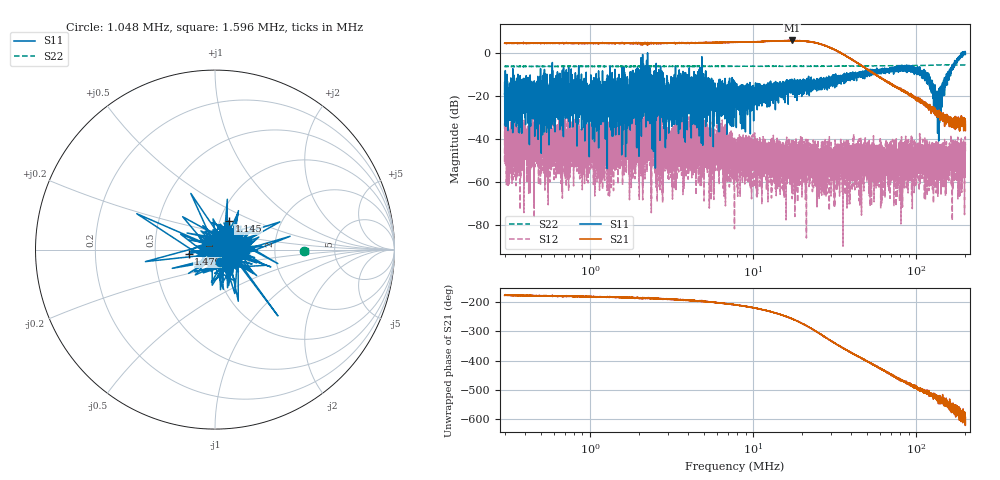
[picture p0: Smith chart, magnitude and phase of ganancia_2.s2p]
# Hz S DB R 50
! CMT, M5065, 19127446, 24.2.4/2
! Date: 11/1/2024 3:04:12 PM
! Data: Format (Calibration Info)
! Freq	S11:dB/Ang(F2)	S21:dB/Ang(F2)	S12:dB/Ang(F2)	S22:dB/Ang(F2)
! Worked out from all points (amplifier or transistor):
!   9000 points, 300 kHz to 200 MHz, reference 50 ohm
!   highest |S21| = 6.0 dB at 17.29 MHz (marker M1)
!   |S21| within 3 dB of that: start of sweep to 28.9 MHz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
!   unconditionally stable (mu >= 1): start of sweep to 2.254 MHz; 2.257 MHz to 187.2 MHz; 187.4 MHz to 191.4 MHz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
!   at 886.8 kHz: K = 32.98, MAG = 6.0 dB, |S12| = -43.7 dB
!   at 7.749 MHz: K = 153.02, MAG = 6.5 dB, |S12| = -57.5 dB
!   at 200 MHz: K = -152.44, MSG = 5.3 dB, |S12| = -42.2 dB
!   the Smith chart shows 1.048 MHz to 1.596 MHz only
!   S11 on the Smith chart (normalised r, x): 1.048 MHz: 1.05, -0.15; 1.145 MHz: 1.11, +0.36; 1.479 MHz: 0.74, -0.04; 1.596 MHz: 1.43, +0.16
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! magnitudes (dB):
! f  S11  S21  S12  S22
! 300 kHz  -18.9  4.8  -32.5  -6.0
! 310.1 kHz  -32.2  4.8  -35.0  -6.1
! 322.5 kHz  -24.0  4.8  -36.0  -6.1
! 886.8 kHz  -20.3  4.7  -43.7  -6.0
! 1.048 MHz  -22.2  4.7  -50.9  -6.0
! 1.145 MHz  -15.0  4.7  -63.6  -6.0
! 1.479 MHz  -16.5  4.9  -41.8  -6.1
! 1.596 MHz  -14.4  4.7  -35.9  -6.0
! 2.282 MHz  -15.7  4.8  -39.5  -6.0
! 2.621 MHz  -12.5  4.9  -50.7  -6.0
! 4.629 MHz  -25.7  4.9  -49.9  -6.0
! 7.749 MHz  -21.3  5.2  -57.5  -6.0
! 12.88 MHz  -16.6  5.7  -53.2  -6.0
! 17.29 MHz  -12.4  6.0  -52.6  -6.0
! 22.91 MHz  -12.8  5.3  -48.9  -6.0
! 67.71 MHz  -8.0  -13.4  -51.2  -5.7
! 108.1 MHz  -9.1  -21.9  -46.6  -5.6
! 121.6 MHz  -14.0  -25.2  -60.3  -5.5
! 136.6 MHz  -23.5  -28.1  -41.1  -5.4
! 164.4 MHz  -7.6  -34.4  -46.6  -5.3
! 185.7 MHz  -1.5  -33.8  -53.9  -5.4
! 200 MHz  0.4  -31.5  -42.2  -5.4
